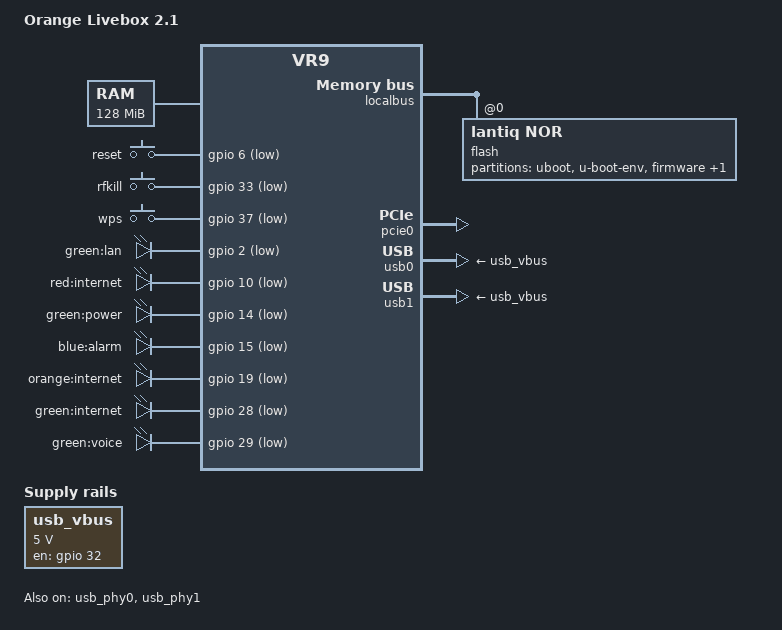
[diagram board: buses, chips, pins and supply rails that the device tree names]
#include "vr9.dtsi"

#include <dt-bindings/input/input.h>
#include <dt-bindings/mips/lantiq_rcu_gphy.h>

/ {
	compatible = "arcadyan,arv7519rw22", "lantiq,xway", "lantiq,vr9";
	model = "Orange Livebox 2.1";

	chosen {
		bootargs = "console=ttyLTQ0,115200";
	};

	aliases {
		led-boot = &power_green;
		led-failsafe = &power_green;
		led-running = &power_green;
		led-upgrade = &power_green;

		led-dsl = &internet_green;
	};

	memory@0 {
		device_type = "memory";
		reg = <0x0 0x8000000>;
	};

	keys {
		compatible = "gpio-keys-polled";
		poll-interval = <100>;

		reset {
			label = "reset";
			gpios = <&gpio 6 GPIO_ACTIVE_LOW>;
			linux,code = <KEY_RESTART>;
		};
		rfkill {
			label = "rfkill";
			gpios = <&gpio 33 GPIO_ACTIVE_LOW>;
			linux,code = <KEY_RFKILL>;
		};
		wps {
			label = "wps";
			gpios = <&gpio 37 GPIO_ACTIVE_LOW>;
			linux,code = <KEY_WPS_BUTTON>;
		};
	};

	leds {
		compatible = "gpio-leds";

		lan_green {
			label = "green:lan";
			gpios = <&gpio 2 GPIO_ACTIVE_LOW>;
		};
		internet_red {
			label = "red:internet";
			gpios = <&gpio 10 GPIO_ACTIVE_LOW>;
		};
		power_green: power_green {
			label = "green:power";
			gpios = <&gpio 14 GPIO_ACTIVE_LOW>;
			default-state = "keep";
		};
		alarm_blue {
			label = "blue:alarm";
			gpios = <&gpio 15 GPIO_ACTIVE_LOW>;
		};
		internet_orange {
			label = "orange:internet";
			gpios = <&gpio 19 GPIO_ACTIVE_LOW>;
		};
		internet_green: internet_green {
			label = "green:internet";
			gpios = <&gpio 28 GPIO_ACTIVE_LOW>;
		};
		voice_green {
			label = "green:voice";
			gpios = <&gpio 29 GPIO_ACTIVE_LOW>;
		};
	};

	usb_vbus: regulator-usb-vbus {
		compatible = "regulator-fixed";

		regulator-name = "USB_VBUS";

		regulator-min-microvolt = <5000000>;
		regulator-max-microvolt = <5000000>;

		gpio = <&gpio 32 GPIO_ACTIVE_HIGH>;
		enable-active-high;
	};
};

&eth0 {
	nvmem-cells = <&macaddr_boardconfig_16>;
	nvmem-cell-names = "mac-address";
};

&gphy0 {
	lantiq,gphy-mode = <GPHY_MODE_FE>;
};

&gphy1 {
	lantiq,gphy-mode = <GPHY_MODE_FE>;
};

&gpio {
	pinctrl-names = "default";
	pinctrl-0 = <&state_default>;

	state_default: pinmux {
		pcie-rst {
			lantiq,pins = "io21";
			lantiq,pull = <0>;
			lantiq,output = <1>;
		};
	};
};

&localbus {
	flash@0 {
		compatible = "lantiq,nor";
		bank-width = <2>;
		reg = <0 0x0 0x2000000>;

		partitions {
			compatible = "fixed-partitions";
			#address-cells = <1>;
			#size-cells = <1>;

			partition@0 {
				label = "uboot";
				reg = <0x0 0x60000>;
				read-only;
			};

			partition@60000 {
				label = "u-boot-env";
				reg = <0x60000 0x20000>;
				read-only;
			};

			partition@80000 {
				label = "firmware";
				reg = <0x80000 0x1f00000>;
			};

			boardconfig: partition@1f80000 {
				label = "boardconfig";
				reg = <0x1f80000 0x80000>;
				read-only;
			};
		};
	};
};

&pcie0 {
	status = "okay";
	gpio-reset = <&gpio 21 GPIO_ACTIVE_HIGH>;
};

&usb_phy0 {
	status = "okay";
};

&usb_phy1 {
	status = "okay";
};

&usb0 {
	status = "okay";
	vbus-supply = <&usb_vbus>;
};

&usb1 {
	status = "okay";
	vbus-supply = <&usb_vbus>;
};

&boardconfig {
	compatible = "nvmem-cells";
	#address-cells = <1>;
	#size-cells = <1>;

	macaddr_boardconfig_16: macaddr@16 {
		reg = <0x16 0x6>;
	};
};
